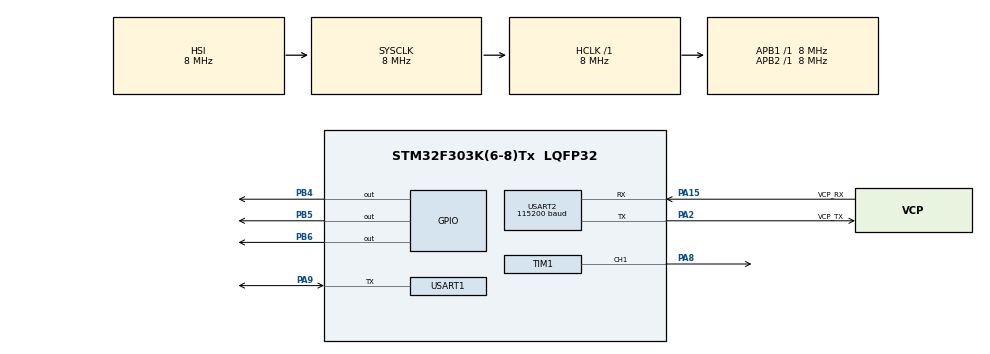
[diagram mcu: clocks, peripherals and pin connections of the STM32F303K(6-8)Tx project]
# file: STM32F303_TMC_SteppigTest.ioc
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Mcu.Family=STM32F3
Mcu.Name=STM32F303K(6-8)Tx
Mcu.Package=LQFP32
NVIC.PriorityGroup=NVIC_PRIORITYGROUP_4
NVIC.TIM1_BRK_TIM15_IRQn=true\:0\:0\:false\:false\:true\:true\:true\:true
NVIC.TIM1_CC_IRQn=true\:0\:0\:false\:false\:true\:true\:true\:true
NVIC.TIM1_TRG_COM_TIM17_IRQn=true\:0\:0\:false\:false\:true\:true\:true\:true
NVIC.TIM1_UP_TIM16_IRQn=true\:0\:0\:false\:false\:true\:true\:true\:true
NVIC.USART2_IRQn=true\:0\:0\:false\:false\:true\:true\:true\:true
PA13.GPIO_Label=SWDIO
PA13.Mode=Serial_Wire
PA13.Signal=SYS_JTMS-SWDIO
PA14.GPIO_Label=SWCLK
PA14.Mode=Serial_Wire
PA14.Signal=SYS_JTCK-SWCLK
PA15.GPIO_Label=VCP_RX
PA15.Mode=Asynchronous
PA15.Signal=USART2_RX
PA2.GPIO_Label=VCP_TX
PA2.Mode=Asynchronous
PA2.Signal=USART2_TX
PA8.Signal=S_TIM1_CH1
PA9.Mode=Half_duplex(single_wire_mode)
PA9.Signal=USART1_TX
PB4.Signal=GPIO_Output
PB5.Signal=GPIO_Output
PB6.Signal=GPIO_Output
PF0\ /\ OSC_IN.GPIO_Label=MCO
PF0\ /\ OSC_IN.Mode=HSE-External-Clock-Source
PF0\ /\ OSC_IN.Signal=RCC_OSC_IN
ProjectManager.HeapSize=0x200
ProjectManager.StackSize=0x400
ProjectManager.TargetToolchain=STM32CubeIDE
RCC.AHBFreq_Value=8000000
RCC.APB1Freq_Value=8000000
RCC.APB2Freq_Value=8000000
RCC.CortexFreq_Value=8000000
RCC.HSE_VALUE=8000000
RCC.HSI_VALUE=8000000
RCC.SYSCLKFreq_VALUE=8000000
SH.S_TIM1_CH1.0=TIM1_CH1,Output Compare1 CH1
TIM1.Channel-Output\ Compare1\ CH1=TIM_CHANNEL_1
USART1.BaudRate=115200
USART1.VirtualMode-Half_duplex(single_wire_mode)=VM_ASYNC
USART2.BaudRate=115200
USART2.VirtualMode-Asynchronous=VM_ASYNC
VP_TIM1_VS_ClockSourceINT.Mode=Internal
board=NUCLEO-F303K8

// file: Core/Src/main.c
/* USER CODE BEGIN Header */
/**
  ******************************************************************************
  * @file           : main.c
  * @brief          : Main program body
  ******************************************************************************
  * @attention
  *
  * Copyright (c) 2022 STMicroelectronics.
  * All rights reserved.
  *
  * This software is licensed under terms that can be found in the LICENSE file
  * in the root directory of this software component.
  * If no LICENSE file comes with this software, it is provided AS-IS.
  *
  ******************************************************************************
  */
/* USER CODE END Header */
#include "main.h"

/* USER CODE BEGIN Includes */
#include <stdio.h>
#include "tmc/ic/TMC2209/TMC2209.h"
#include "boards/Board.h"
#include "hal/derivative.h"
#include "hal/HAL.h"
#include "tmc/IdDetection.h"
#include "tmc/TMCL.h"
#include "tmc/VitalSignsMonitor.h"
#include "tmc/BoardAssignment.h"
#include "tmc/RAMDebug.h"
/* USER CODE END Includes */

/* USER CODE BEGIN PTD */
const char *VersionString = MODULE_ID"V308"; // module id and version of the firmware shown in the TMCL-IDE
EvalboardsTypeDef Evalboards;

/* Keep as is! This lines are important for the update functionality. */
#if defined(Landungsbruecke)
	const uint8_t Protection[] __attribute__ ((section(".cfmconfig")))=
	{
		0xFF, 0xFF, 0xFF, 0xFF, 0xFF, 0xFF, 0xFF, 0xFF,  //Backdoor key
		0xFF, 0xFF, 0xFF, 0xFF,                          //Flash protection (FPPROT)
		0x7E,                                            //Flash security   (FSEC) => nach Image-Generierung manuell auf 0x40 setzen im Image
		0xF9,                                            //Flash option     (FOPT) (NMI ausgeschaltet, EzPort ausgeschaltet, Normal power)
		0xFF,                                            //reserved
		0xFF                                             //reserved
	};

	struct BootloaderConfig {
		uint32_t BLMagic;
		uint32_t drvEnableResetValue;
	};

	// This struct gets placed at a specific address by the linker
	struct BootloaderConfig __attribute__ ((section(".bldata"))) BLConfig;
#endif
/* USER CODE END PTD */

/* USER CODE BEGIN PD */
#define TMC2209_CRC(data, length) tmc_CRC8(data, length, 1)

/* USER CODE END PD */

 TIM_HandleTypeDef htim1;

UART_HandleTypeDef huart1;
UART_HandleTypeDef huart2;

/* USER CODE BEGIN PV */
//static TMC2209TypeDef TMC2209; //TMC2209の設定などの定義
//static ConfigurationTypeDef *TMC2209_config; //TMC2209の設定
TMC2209TypeDef TMC2209; //TMC2209の設定などの定義
ConfigurationTypeDef TMC2209_config; //TMC2209の設定
/* USER CODE END PV */

void SystemClock_Config(void);
static void MX_GPIO_Init(void);
static void MX_USART2_UART_Init(void);
static void MX_USART1_UART_Init(void);
static void MX_TIM1_Init(void);
/* USER CODE BEGIN PFP */
static void periodicJob(uint32_t tick);
static uint8_t reset(void);
static uint8_t restore(void);

/* USER CODE END PFP */

/* USER CODE BEGIN 0 */
void tmc2209_readWriteArray(uint8_t channel, uint8_t *data, size_t writeLength, size_t readLength)
{
	//set your uart read write
	//UART_readWrite(channelToUART(channel), data, writeLength, readLength);
	HAL_HalfDuplex_EnableTransmitter(&huart1);
	HAL_UART_Transmit(&huart1, data, writeLength,3000);

	if(readLength > 0){
		HAL_HalfDuplex_EnableReceiver(&huart1);
		HAL_UART_Receive(&huart1, data, readLength, 3000);
	}
}

uint8_t tmc2209_CRC8(uint8_t *data, size_t length)
{
	return TMC2209_CRC(data, length);
}

static void periodicJob(uint32_t tick)
{

	tmc2209_periodicJob(&TMC2209, tick);

	//StepDir_periodicJob(0);
}

static uint8_t reset()
{
	//StepDir_init(STEPDIR_PRECISION);
	//StepDir_setPins(0, Pins.STEP, Pins.DIR, Pins.DIAG);

	return tmc2209_reset(&TMC2209);
}

static uint8_t restore()
{
	return tmc2209_restore(&TMC2209);
}

void TMC2209_INIT()
{
	tmc_fillCRC8Table(0x07, true, 1);

	TMC2209_config.reset = reset;
	TMC2209_config.restore = restore;
	tmc2209_init(&TMC2209, 0, 0, &TMC2209_config, &tmc2209_defaultRegisterResetState[0]);

	//restore();
}

void shallForceBoot()
{
	// toggle each pin and see if you can read the state on the other
	// leave if not, because this means that the pins are not tied together
	HAL.IOs->config->toOutput(&HAL.IOs->pins->ID_CLK);
	HAL.IOs->config->toInput(&HAL.IOs->pins->ID_CH0);

	HAL.IOs->config->setHigh(&HAL.IOs->pins->ID_CLK);
	if(!HAL.IOs->config->isHigh(&HAL.IOs->pins->ID_CH0))
		return;

	HAL.IOs->config->setLow(&HAL.IOs->pins->ID_CLK);
	if(HAL.IOs->config->isHigh(&HAL.IOs->pins->ID_CH0))
		return;

	HAL.IOs->config->toOutput(&HAL.IOs->pins->ID_CH0);
	HAL.IOs->config->toInput(&HAL.IOs->pins->ID_CLK);

	HAL.IOs->config->setHigh(&HAL.IOs->pins->ID_CH0);
	if(!HAL.IOs->config->isHigh(&HAL.IOs->pins->ID_CLK))
		return;

	HAL.IOs->config->setLow(&HAL.IOs->pins->ID_CH0);
	if(HAL.IOs->config->isHigh(&HAL.IOs->pins->ID_CLK))
		return;

	// not returned, this means pins are tied together
	tmcl_boot();
}

/* Call all standard initialization routines. */
static void init()
{
#if defined(Landungsbruecke)
	// Default value: Driver enable gets set high by the bootloader
	BLConfig.drvEnableResetValue = 1;
#endif

	HAL.init();                  // Initialize Hardware Abstraction Layer
	IDDetection_init();          // Initialize board detection
	tmcl_init();                 // Initialize TMCL communication

	tmcdriver_init();            // Initialize dummy driver board --> preset EvalBoards.ch2
	tmcmotioncontroller_init();  // Initialize dummy motion controller board  --> preset EvalBoards.ch1

	VitalSignsMonitor.busy = 1;  // Put state to busy
	Evalboards.driverEnable = DRIVER_ENABLE;
	Evalboards.ch1.id = 0;       // preset id for driver board to 0 --> error/not found
	Evalboards.ch2.id = 0;       // preset id for driver board to 0 --> error/not found

	// We disable the drivers before configurating anything
	HAL.IOs->config->toOutput(&HAL.IOs->pins->DIO0);
	HAL.IOs->config->setHigh(&HAL.IOs->pins->DIO0);

	IdAssignmentTypeDef ids = { 0 };
	IDDetection_initialScan(&ids);  // start initial board detection
	IDDetection_initialScan(&ids);  // start second time, first time not 100% reliable, not sure why - too fast after startup?
	if(!ids.ch1.id && !ids.ch2.id)
	{
		shallForceBoot();           // only checking to force jump into bootloader if there are no boards attached
		// todo CHECK 2: Workaround: shallForceBoot() changes pin settings - change them again here, since otherwise IDDetection partially breaks (LH)
		HAL.IOs->config->toOutput(&HAL.IOs->pins->ID_CLK);
		HAL.IOs->config->toInput(&HAL.IOs->pins->ID_CH0);

	}

	if (ID_CH1_DEFAULT && (!ids.ch1.id || ID_CH1_OVERRIDE))
	{
		ids.ch1.id = ID_CH1_DEFAULT;
		ids.ch1.state = ID_STATE_DONE;
	}

	if (ID_CH2_DEFAULT && (!ids.ch2.id || ID_CH2_OVERRIDE))
	{
		ids.ch2.id = ID_CH2_DEFAULT;
		ids.ch2.state = ID_STATE_DONE;
	}

	Board_assign(&ids);             // assign boards with detected id

	VitalSignsMonitor.busy 	= 0;    // not busy any more!
}

/* USER CODE END 0 */

int main(void)
{
  /* USER CODE BEGIN 1 */
	setbuf(stdout, NULL);

  /* USER CODE END 1 */

  /* MCU Configuration--------------------------------------------------------*/

  /* Reset of all peripherals, Initializes the Flash interface and the Systick. */
  HAL_Init();

  /* USER CODE BEGIN Init */
  // Start all initialization routines
  	init();

  	// Main loop
  	while(1)
  	{
  		// Check all parameters and life signs and mark errors
  		vitalsignsmonitor_checkVitalSigns();

  		// handle RAMDebug
  		debug_process();

  		// Perodic jobs of Motion controller/Driver boards
  		Evalboards.ch1.periodicJob(systick_getTick());
  		Evalboards.ch2.periodicJob(systick_getTick());

  		// Process TMCL communication
  		tmcl_process();
  	}

  	return 0;

  /* USER CODE END Init */

  /* Configure the system clock */
  SystemClock_Config();

  /* Initialize all configured peripherals */
  MX_GPIO_Init();
  MX_USART2_UART_Init();
  MX_USART1_UART_Init();
  MX_TIM1_Init();
  /* USER CODE BEGIN 2 */
  //int getserial=0;
  TMC2209_INIT();
  printf("Hello\r\n");
  //printf("Start \r\n");

  //uint8_t rxbuf[1];

  /* USER CODE END 2 */

  /* Infinite loop */
  while (1)
  {

    /* USER CODE BEGIN 3 */
	  //example read register value
	  uint32_t value = 0;
	  value = tmc2209_readInt(&TMC2209, TMC2209_FACTORY_CONF);
	  //printf("Hello\r\n");
	  //printf("Goodbye\r\n");
	  //periodicJob(HAL_GetTick());
	  //HAL_UART_Transmit(&huart2,(uint8_t *)value,sizeof(value),3000);
	  printf("FACTORY_CONF: %ld\r\n", value);
	  //HAL_UART_Transmit(&huart2,(uint8_t *)value,sizeof(value),3000);
	  //getserial=value;

	  value = tmc2209_readInt(&TMC2209, TMC2209_SG_RESULT);
	  //periodicJob(HAL_GetTick());
	  //tmc2209_writeInt(&TMC2209, );
	  printf("SG_RESULT: %ld\r\n", value);

	  value = tmc2209_readInt(&TMC2209, TMC2209_DRVSTATUS);
	  printf("SG_RESULT: %ld\r\n", value);

	  HAL_Delay(1000);

  }

  /* USER CODE END 3 */
}

void SystemClock_Config(void)
{
  RCC_OscInitTypeDef RCC_OscInitStruct = {0};
  RCC_ClkInitTypeDef RCC_ClkInitStruct = {0};
  RCC_PeriphCLKInitTypeDef PeriphClkInit = {0};

  /** Initializes the RCC Oscillators according to the specified parameters
  * in the RCC_OscInitTypeDef structure.
  */
  RCC_OscInitStruct.OscillatorType = RCC_OSCILLATORTYPE_HSI;
  RCC_OscInitStruct.HSIState = RCC_HSI_ON;
  RCC_OscInitStruct.HSICalibrationValue = RCC_HSICALIBRATION_DEFAULT;
  RCC_OscInitStruct.PLL.PLLState = RCC_PLL_NONE;
  if (HAL_RCC_OscConfig(&RCC_OscInitStruct) != HAL_OK)
  {
    Error_Handler();
  }

  /** Initializes the CPU, AHB and APB buses clocks
  */
  RCC_ClkInitStruct.ClockType = RCC_CLOCKTYPE_HCLK|RCC_CLOCKTYPE_SYSCLK
                              |RCC_CLOCKTYPE_PCLK1|RCC_CLOCKTYPE_PCLK2;
  RCC_ClkInitStruct.SYSCLKSource = RCC_SYSCLKSOURCE_HSI;
  RCC_ClkInitStruct.AHBCLKDivider = RCC_SYSCLK_DIV1;
  RCC_ClkInitStruct.APB1CLKDivider = RCC_HCLK_DIV1;
  RCC_ClkInitStruct.APB2CLKDivider = RCC_HCLK_DIV1;

  if (HAL_RCC_ClockConfig(&RCC_ClkInitStruct, FLASH_LATENCY_0) != HAL_OK)
  {
    Error_Handler();
  }
  PeriphClkInit.PeriphClockSelection = RCC_PERIPHCLK_USART1|RCC_PERIPHCLK_TIM1;
  PeriphClkInit.Usart1ClockSelection = RCC_USART1CLKSOURCE_PCLK1;
  PeriphClkInit.Tim1ClockSelection = RCC_TIM1CLK_HCLK;
  if (HAL_RCCEx_PeriphCLKConfig(&PeriphClkInit) != HAL_OK)
  {
    Error_Handler();
  }
}

static void MX_TIM1_Init(void)
{

  TIM_ClockConfigTypeDef sClockSourceConfig = {0};
  TIM_MasterConfigTypeDef sMasterConfig = {0};
  TIM_OC_InitTypeDef sConfigOC = {0};
  TIM_BreakDeadTimeConfigTypeDef sBreakDeadTimeConfig = {0};

  htim1.Instance = TIM1;
  htim1.Init.Prescaler = 0;
  htim1.Init.CounterMode = TIM_COUNTERMODE_UP;
  htim1.Init.Period = 65535;
  htim1.Init.ClockDivision = TIM_CLOCKDIVISION_DIV1;
  htim1.Init.RepetitionCounter = 0;
  htim1.Init.AutoReloadPreload = TIM_AUTORELOAD_PRELOAD_DISABLE;
  if (HAL_TIM_Base_Init(&htim1) != HAL_OK)
  {
    Error_Handler();
  }
  sClockSourceConfig.ClockSource = TIM_CLOCKSOURCE_INTERNAL;
  if (HAL_TIM_ConfigClockSource(&htim1, &sClockSourceConfig) != HAL_OK)
  {
    Error_Handler();
  }
  if (HAL_TIM_OC_Init(&htim1) != HAL_OK)
  {
    Error_Handler();
  }
  sMasterConfig.MasterOutputTrigger = TIM_TRGO_RESET;
  sMasterConfig.MasterOutputTrigger2 = TIM_TRGO2_RESET;
  sMasterConfig.MasterSlaveMode = TIM_MASTERSLAVEMODE_DISABLE;
  if (HAL_TIMEx_MasterConfigSynchronization(&htim1, &sMasterConfig) != HAL_OK)
  {
    Error_Handler();
  }
  sConfigOC.OCMode = TIM_OCMODE_TIMING;
  sConfigOC.Pulse = 0;
  sConfigOC.OCPolarity = TIM_OCPOLARITY_HIGH;
  sConfigOC.OCNPolarity = TIM_OCNPOLARITY_HIGH;
  sConfigOC.OCFastMode = TIM_OCFAST_DISABLE;
  sConfigOC.OCIdleState = TIM_OCIDLESTATE_RESET;
  sConfigOC.OCNIdleState = TIM_OCNIDLESTATE_RESET;
  if (HAL_TIM_OC_ConfigChannel(&htim1, &sConfigOC, TIM_CHANNEL_1) != HAL_OK)
  {
    Error_Handler();
  }
  sBreakDeadTimeConfig.OffStateRunMode = TIM_OSSR_DISABLE;
  sBreakDeadTimeConfig.OffStateIDLEMode = TIM_OSSI_DISABLE;
  sBreakDeadTimeConfig.LockLevel = TIM_LOCKLEVEL_OFF;
  sBreakDeadTimeConfig.DeadTime = 0;
  sBreakDeadTimeConfig.BreakState = TIM_BREAK_DISABLE;
  sBreakDeadTimeConfig.BreakPolarity = TIM_BREAKPOLARITY_HIGH;
  sBreakDeadTimeConfig.BreakFilter = 0;
  sBreakDeadTimeConfig.Break2State = TIM_BREAK2_DISABLE;
  sBreakDeadTimeConfig.Break2Polarity = TIM_BREAK2POLARITY_HIGH;
  sBreakDeadTimeConfig.Break2Filter = 0;
  sBreakDeadTimeConfig.AutomaticOutput = TIM_AUTOMATICOUTPUT_DISABLE;
  if (HAL_TIMEx_ConfigBreakDeadTime(&htim1, &sBreakDeadTimeConfig) != HAL_OK)
  {
    Error_Handler();
  }
  HAL_TIM_MspPostInit(&htim1);

}

static void MX_USART1_UART_Init(void)
{

  huart1.Instance = USART1;
  huart1.Init.BaudRate = 115200;
  huart1.Init.WordLength = UART_WORDLENGTH_8B;
  huart1.Init.StopBits = UART_STOPBITS_1;
  huart1.Init.Parity = UART_PARITY_NONE;
  huart1.Init.Mode = UART_MODE_TX_RX;
  huart1.Init.HwFlowCtl = UART_HWCONTROL_NONE;
  huart1.Init.OverSampling = UART_OVERSAMPLING_16;
  huart1.Init.OneBitSampling = UART_ONE_BIT_SAMPLE_DISABLE;
  huart1.AdvancedInit.AdvFeatureInit = UART_ADVFEATURE_NO_INIT;
  if (HAL_HalfDuplex_Init(&huart1) != HAL_OK)
  {
    Error_Handler();
  }

}

static void MX_USART2_UART_Init(void)
{

  huart2.Instance = USART2;
  huart2.Init.BaudRate = 115200;
  huart2.Init.WordLength = UART_WORDLENGTH_8B;
  huart2.Init.StopBits = UART_STOPBITS_1;
  huart2.Init.Parity = UART_PARITY_NONE;
  huart2.Init.Mode = UART_MODE_TX_RX;
  huart2.Init.HwFlowCtl = UART_HWCONTROL_NONE;
  huart2.Init.OverSampling = UART_OVERSAMPLING_16;
  huart2.Init.OneBitSampling = UART_ONE_BIT_SAMPLE_DISABLE;
  huart2.AdvancedInit.AdvFeatureInit = UART_ADVFEATURE_NO_INIT;
  if (HAL_UART_Init(&huart2) != HAL_OK)
  {
    Error_Handler();
  }

}

static void MX_GPIO_Init(void)
{
  GPIO_InitTypeDef GPIO_InitStruct = {0};

  /* GPIO Ports Clock Enable */
  __HAL_RCC_GPIOF_CLK_ENABLE();
  __HAL_RCC_GPIOA_CLK_ENABLE();
  __HAL_RCC_GPIOB_CLK_ENABLE();

  /*Configure GPIO pin Output Level */
  HAL_GPIO_WritePin(GPIOB, GPIO_PIN_4|GPIO_PIN_5|GPIO_PIN_6, GPIO_PIN_RESET);

  /*Configure GPIO pins : PB4 PB5 PB6 */
  GPIO_InitStruct.Pin = GPIO_PIN_4|GPIO_PIN_5|GPIO_PIN_6;
  GPIO_InitStruct.Mode = GPIO_MODE_OUTPUT_PP;
  GPIO_InitStruct.Pull = GPIO_NOPULL;
  GPIO_InitStruct.Speed = GPIO_SPEED_FREQ_LOW;
  HAL_GPIO_Init(GPIOB, &GPIO_InitStruct);

}

/* USER CODE BEGIN 4 */
int _write(int file, char *ptr, int len)
{
  HAL_UART_Transmit(&huart2,(uint8_t *)ptr,len,10);
  return len;
}

//int _write(int file, char *ptr, int len)
//{
//  int DataIdx;
//  for(DataIdx=0; DataIdx<len; DataIdx++)
//  {
//    ITM_SendChar(*ptr++);
//  }
//  return len;
//}

/* USER CODE END 4 */

void Error_Handler(void)
{
  __disable_irq();
  while (1)
  {
  }
}
